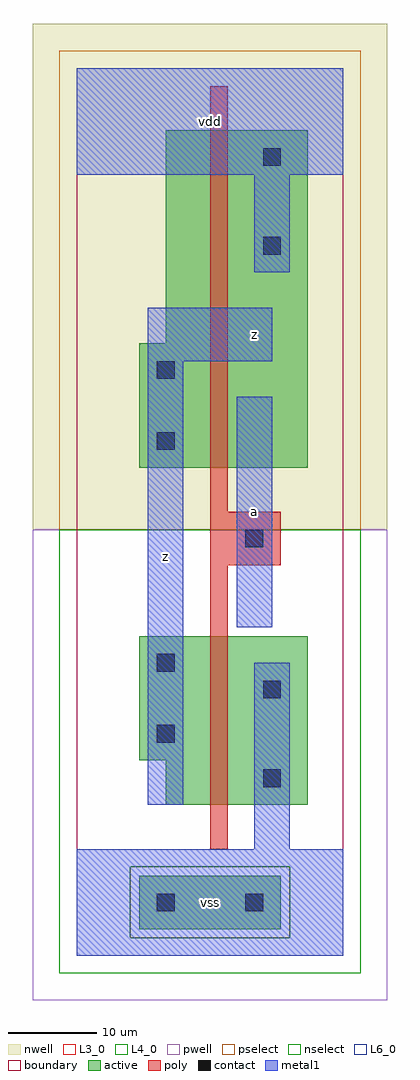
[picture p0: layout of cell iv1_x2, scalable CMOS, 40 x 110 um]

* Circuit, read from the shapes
.subckt iv1_x2 a vdd vss z
M1 vss a z vss nfet w=19u l=2u
M2 vdd a z n1 pfet w=38u l=2u
.ends

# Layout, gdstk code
import gdstk
lib = gdstk.Library(unit=1e-6, precision=1e-09)
def R(c, l, rs):  # rectangles x0, y0, x1, y1
    for r in rs: c.add(gdstk.rectangle(r[:2], r[2:], *l))
L3_0 = (3, 0)
L4_0 = (4, 0)
L6_0 = (6, 0)
contact = (25, 0)
pwell = (41, 0)
nwell = (42, 0)
active = (43, 0)
pselect = (44, 0)
nselect = (45, 0)
poly = (46, 0)
metal1 = (49, 0)
boundary = (63, 0)

iv1_x2 = lib.new_cell('iv1_x2')
R(iv1_x2, L3_0, [(10,17,26,22), (7,22,26,36)])
R(iv1_x2, L4_0, [(7,55,26,69), (10,69,26,93)])
R(iv1_x2, L6_0, [(7,3,23,9)])
R(iv1_x2, contact, [(9,5,11,7), (19,5,21,7), (21,19,23,21), (9,24,11,26), (21,29,23,31), (9,32,11,34), (19,46,21,48), (9,57,11,59), (9,65,11,67), (21,79,23,81), (21,89,23,91)])
R(iv1_x2, pwell, [(-5,-5,35,48)])
R(iv1_x2, nwell, [(-5,48,35,105)])
R(iv1_x2, active, [(7,3,23,9), (10,17,26,22), (7,22,26,36), (7,55,26,69), (10,69,26,93)])
R(iv1_x2, pselect, [(6,2,24,10), (-2,48,32,102)])
R(iv1_x2, nselect, [(-2,-2,32,2), (-2,2,6,10), (24,2,32,10), (-2,10,32,48)])
R(iv1_x2, poly, [(15,12,17,44), (15,44,23,50), (15,50,17,98)])
R(iv1_x2, metal1, [(0,0,30,12), (20,12,24,33), (8,17,12,67), (18,37,22,63), (8,67,22,73), (20,77,24,88), (0,88,30,100)])
R(iv1_x2, boundary, [(0,0,30,100)])
iv1_x2.add(gdstk.Label('vss', (15,6), layer=49, texttype=0))
iv1_x2.add(gdstk.Label('z', (10,45), layer=49, texttype=0))
iv1_x2.add(gdstk.Label('vdd', (15,94), layer=49, texttype=0))
iv1_x2.add(gdstk.Label('a', (20,50), layer=49, texttype=0))
iv1_x2.add(gdstk.Label('z', (20,70), layer=49, texttype=0))

lib.write_gds('iv1_x2.gds')
